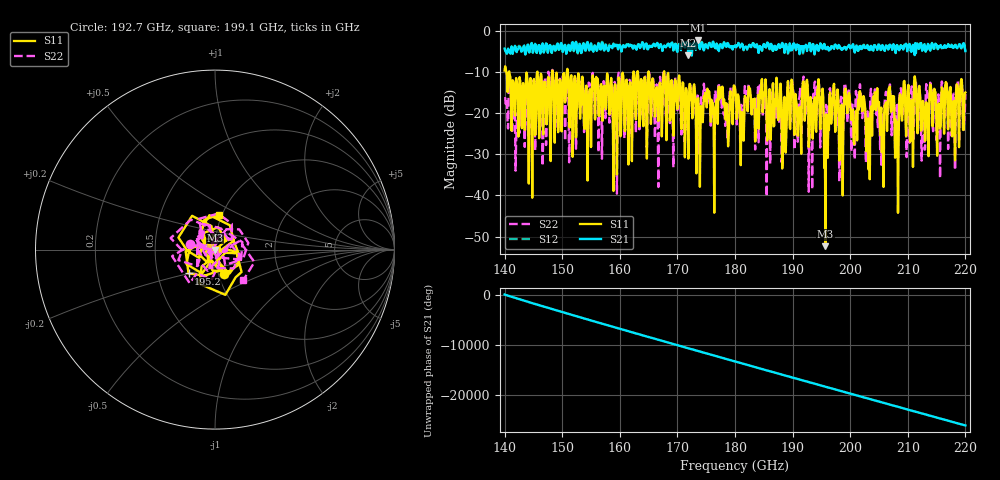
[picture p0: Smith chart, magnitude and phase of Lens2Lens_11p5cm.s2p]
!Keysight Technologies,N5224B,MY60213280,A.17.35.14
!Date: Thursday, May 28, 2026 12:03:38
!Correction: S11(C  2-Port  )
!S21(C  2-Port  )
!S12(C  2-Port  )
!S22(C  2-Port  )
!S2P File: Measurements: S11, S21, S12, S22:
# Hz S  dB  R 50
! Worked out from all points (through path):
!   801 points, 140 GHz to 220 GHz, reference 50 ohm
!   highest |S21| = -2.33 dB at 173.6 GHz (marker M1); lowest = -6.0 dB at 171.9 GHz (marker M2)
!   lowest |S11| = -52.3 dB at 195.7 GHz (marker M3), VSWR 1.00, Z = 50.1 - j0.235 ohm
!   |S11| at or under -10 dB: 140.8 GHz to 145.7 GHz (4.86 GHz wide, 3.39 % of centre); 151 GHz to 162.4 GHz (11.42 GHz wide, 7.29 % of centre); 167.7 GHz to end of sweep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
!   |S22| runs from -40.3 to -9.5 dB; largest |S21 - S12| = 1.1
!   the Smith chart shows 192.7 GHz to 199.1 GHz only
!   S11 on the Smith chart (normalised r, x): 192.7 GHz: 1.06, -0.30; 195.2 GHz: 0.72, -0.20; 199.1 GHz: 0.97, +0.39
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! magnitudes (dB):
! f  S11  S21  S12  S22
! 140 GHz  -9.6  -4.3  -4.2  -16.4
! 144.5 GHz  -11.5  -4.0  -4.0  -14.4
! 153.4 GHz  -12.5  -5.2  -5.2  -12.4
! 166.7 GHz  -21.9  -3.6  -3.5  -37.9
! 171.9 GHz  -31.0  -6.0  -5.9  -21.9
! 173.6 GHz  -16.3  -2.3  -2.3  -16.8
! 180 GHz  -13.9  -3.6  -3.5  -14.4
! 188.5 GHz  -17.1  -3.8  -3.8  -18.6
! 192.7 GHz  -16.6  -3.8  -3.8  -16.8
! 193.4 GHz  -25.5  -4.0  -3.9  -38.5
! 195.2 GHz  -14.0  -4.4  -4.3  -16.4
! 195.7 GHz  -52.3  -4.4  -4.5  -24.5
! 196.8 GHz  -20.1  -3.7  -3.7  -21.9
! 199.1 GHz  -14.3  -4.0  -4.0  -12.7
! 202 GHz  -16.1  -4.3  -4.2  -17.6
! 203.1 GHz  -21.3  -3.9  -3.8  -22.4
! 204.6 GHz  -17.1  -3.9  -3.9  -20.5
! 205.5 GHz  -29.5  -3.8  -3.7  -23.9
! 206.7 GHz  -14.0  -4.3  -4.2  -15.1
! 208.1 GHz  -24.2  -3.4  -3.4  -18.1
! 209.1 GHz  -18.6  -4.0  -3.9  -20.3
! 220 GHz  -15.0  -4.9  -4.9  -15.3
